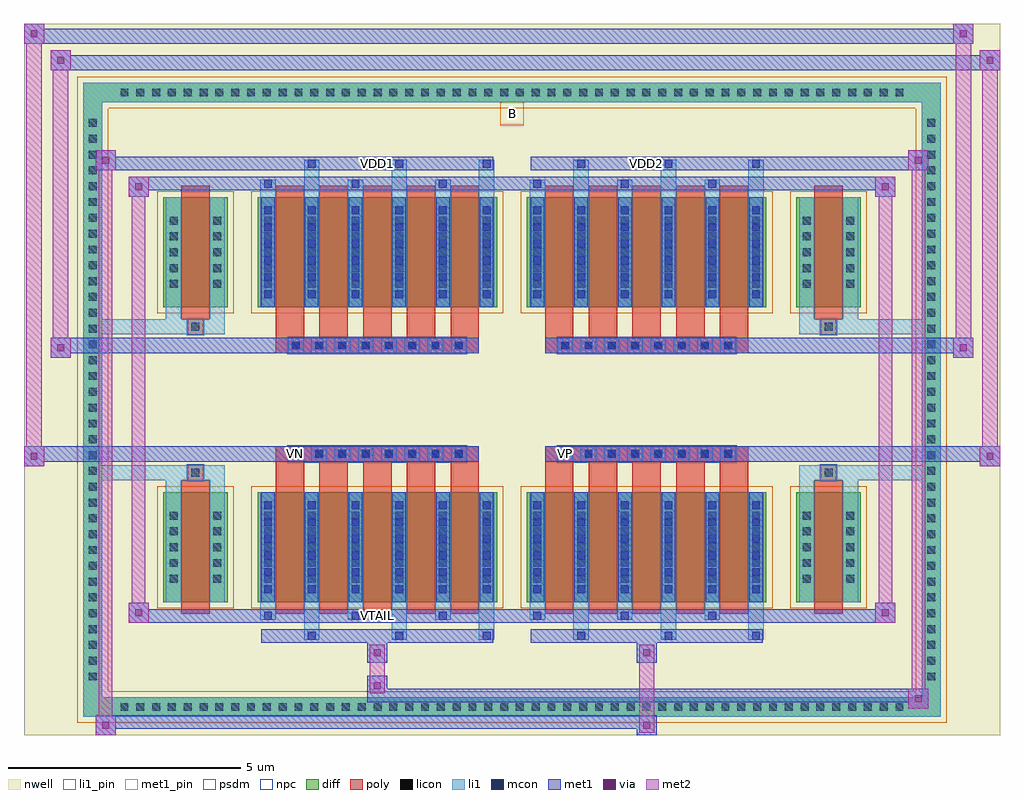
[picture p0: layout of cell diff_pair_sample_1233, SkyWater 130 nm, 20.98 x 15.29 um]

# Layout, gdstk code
import gdstk
lib = gdstk.Library(unit=1e-6, precision=5e-09)
def R(c, l, rs):  # rectangles x0, y0, x1, y1
    for r in rs: c.add(gdstk.rectangle(r[:2], r[2:], *l))
def A(c, l, x, y, w, h, nx, ny, dx, dy):  # array of equal rectangles
    R(c, l, [(x+i*dx, y+j*dy, x+i*dx+w, y+j*dy+h) for i in range(nx) for j in range(ny)])
def P(c, l, *ps):  # polygons
    for p in ps: c.add(gdstk.Polygon(p, *l))
nwell = (64, 20)
diff = (65, 20)
poly = (66, 20)
licon = (66, 44)
li1_pin = (67, 16)
li1 = (67, 20)
mcon = (67, 44)
met1_pin = (68, 16)
met1 = (68, 20)
via = (68, 44)
met2 = (69, 20)
psdm = (94, 20)
npc = (95, 20)

diff_pair_sample_1233 = lib.new_cell('diff_pair_sample_1233')
R(diff_pair_sample_1233, nwell, [(-10.49,-7.21,10.49,8.08), (-7.81,-5.4,-0.01,-0.8), (0.01,-5.4,7.81,-0.8), (-7.81,0.8,-0.01,5.4), (0.01,0.8,7.81,5.4)])
A(diff_pair_sample_1233, diff, -8.535, -6.81, 0.41, 0.41, 50, 2, 0.34, 13.21)
A(diff_pair_sample_1233, diff, -9.22, -6.155, 0.41, 0.41, 1, 36, 0, 0.34)
A(diff_pair_sample_1233, diff, 8.81, -6.155, 0.41, 0.41, 1, 36, 0, 0.34)
R(diff_pair_sample_1233, diff, [(-8.535,-6.81,8.535,-6.4), (-9.22,-6.155,-8.81,6.155), (8.81,-6.155,9.22,6.155), (-7.5,-4.355,-6.11,-1.985), (-5.47,-4.355,-0.32,-1.985), (0.32,-4.355,5.47,-1.985), (6.11,-4.355,7.5,-1.985), (-7.5,1.985,-6.11,4.355), (-5.47,1.985,-0.32,4.355), (0.32,1.985,5.47,4.355), (6.11,1.985,7.5,4.355), (-8.535,6.4,8.535,6.81)])
P(diff_pair_sample_1233, diff, [(9.22,6.81),(-9.22,6.81),(-9.22,-6.4),(-8.81,-6.4),(-8.81,6.4),(8.81,6.4),(8.81,-6.4),(-8.81,-6.4),(-9.22,-6.4),(-9.22,-6.81),(9.22,-6.81)])
A(diff_pair_sample_1233, poly, -5.08, -4.605, 0.61, 2.87, 5, 2, 0.94, 6.34)
A(diff_pair_sample_1233, poly, 0.71, -4.605, 0.61, 2.87, 5, 2, 0.94, 6.34)
A(diff_pair_sample_1233, poly, -5.08, -1.735, 0.61, 0.405, 5, 2, 0.94, 3.065)
A(diff_pair_sample_1233, poly, 0.71, -1.735, 0.61, 0.405, 5, 2, 0.94, 3.065)
A(diff_pair_sample_1233, poly, -4.81, -1.33, 0.33, 0.33, 8, 2, 0.5, 2.33)
A(diff_pair_sample_1233, poly, 0.98, -1.33, 0.33, 0.33, 8, 2, 0.5, 2.33)
R(diff_pair_sample_1233, poly, [(-7.11,-4.605,-6.5,-1.735), (6.5,-4.605,7.11,-1.735), (-6.97,-1.735,-6.64,-1.405), (-6.97,-1.735,-6.64,-1.405), (6.64,-1.735,6.97,-1.405), (6.64,-1.735,6.97,-1.405), (-5.08,-1.33,-0.71,-1), (0.71,-1.33,5.08,-1), (-5.08,1,-0.71,1.33), (0.71,1,5.08,1.33), (-6.97,1.405,-6.64,1.735), (-6.97,1.405,-6.64,1.735), (6.64,1.405,6.97,1.735), (6.64,1.405,6.97,1.735), (-7.11,1.735,-6.5,4.605), (6.5,1.735,7.11,4.605)])
A(diff_pair_sample_1233, licon, -8.415, -6.69, 0.17, 0.17, 50, 2, 0.34, 13.21)
A(diff_pair_sample_1233, licon, -9.1, -6.035, 0.17, 0.17, 1, 36, 0, 0.34)
A(diff_pair_sample_1233, licon, 8.93, -6.035, 0.17, 0.17, 1, 36, 0, 0.34)
A(diff_pair_sample_1233, licon, -7.36, -3.935, 0.17, 0.17, 1, 5, 0, 0.34)
A(diff_pair_sample_1233, licon, -6.42, -3.935, 0.17, 0.17, 1, 5, 0, 0.34)
A(diff_pair_sample_1233, licon, -5.33, -3.935, 0.17, 0.17, 6, 5, 0.94, 0.34)
A(diff_pair_sample_1233, licon, 0.46, -3.935, 0.17, 0.17, 6, 5, 0.94, 0.34)
A(diff_pair_sample_1233, licon, 6.25, -3.935, 0.17, 0.17, 1, 5, 0, 0.34)
A(diff_pair_sample_1233, licon, 7.19, -3.935, 0.17, 0.17, 1, 5, 0, 0.34)
A(diff_pair_sample_1233, licon, -4.73, -1.25, 0.17, 0.17, 8, 2, 0.5, 2.33)
A(diff_pair_sample_1233, licon, 1.06, -1.25, 0.17, 0.17, 8, 2, 0.5, 2.33)
A(diff_pair_sample_1233, licon, -7.36, 2.405, 0.17, 0.17, 1, 5, 0, 0.34)
A(diff_pair_sample_1233, licon, -6.42, 2.405, 0.17, 0.17, 1, 5, 0, 0.34)
A(diff_pair_sample_1233, licon, -5.33, 2.405, 0.17, 0.17, 6, 5, 0.94, 0.34)
A(diff_pair_sample_1233, licon, 0.46, 2.405, 0.17, 0.17, 6, 5, 0.94, 0.34)
A(diff_pair_sample_1233, licon, 6.25, 2.405, 0.17, 0.17, 1, 5, 0, 0.34)
A(diff_pair_sample_1233, licon, 7.19, 2.405, 0.17, 0.17, 1, 5, 0, 0.34)
R(diff_pair_sample_1233, licon, [(-6.89,-1.655,-6.72,-1.485), (6.72,-1.655,6.89,-1.485), (-6.89,1.485,-6.72,1.655), (6.72,1.485,6.89,1.655)])
R(diff_pair_sample_1233, li1_pin, [(-0.25,5.9,0.25,6.4)])
A(diff_pair_sample_1233, li1, -8.495, -6.77, 0.33, 0.33, 50, 2, 0.34, 13.21)
A(diff_pair_sample_1233, li1, -9.18, -6.115, 0.33, 0.33, 1, 36, 0, 0.34)
A(diff_pair_sample_1233, li1, 8.85, -6.115, 0.33, 0.33, 1, 36, 0, 0.34)
A(diff_pair_sample_1233, li1, -4.47, -5.16, 0.33, 0.805, 3, 2, 1.88, 9.515)
A(diff_pair_sample_1233, li1, -4.39, -5.16, 0.17, 0.17, 3, 2, 1.88, 10.15)
A(diff_pair_sample_1233, li1, 1.32, -5.16, 0.33, 0.805, 3, 2, 1.88, 9.515)
A(diff_pair_sample_1233, li1, 1.4, -5.16, 0.17, 0.17, 3, 2, 1.88, 10.15)
A(diff_pair_sample_1233, li1, -5.41, -4.73, 0.33, 0.375, 3, 2, 1.88, 9.085)
A(diff_pair_sample_1233, li1, -5.33, -4.73, 0.17, 0.17, 3, 2, 1.88, 9.29)
A(diff_pair_sample_1233, li1, 0.38, -4.73, 0.33, 0.375, 3, 2, 1.88, 9.085)
A(diff_pair_sample_1233, li1, 0.46, -4.73, 0.17, 0.17, 3, 2, 1.88, 9.29)
A(diff_pair_sample_1233, li1, -5.41, -4.355, 0.33, 2.37, 6, 2, 0.94, 6.34)
A(diff_pair_sample_1233, li1, 0.38, -4.355, 0.33, 2.37, 6, 2, 0.94, 6.34)
A(diff_pair_sample_1233, li1, -5.33, -4.155, 0.17, 0.17, 6, 6, 0.94, 0.36)
A(diff_pair_sample_1233, li1, -5.33, -4.155, 0.17, 1.97, 6, 2, 0.94, 6.34)
A(diff_pair_sample_1233, li1, 0.46, -4.155, 0.17, 0.17, 6, 6, 0.94, 0.36)
A(diff_pair_sample_1233, li1, 0.46, -4.155, 0.17, 1.97, 6, 2, 0.94, 6.34)
A(diff_pair_sample_1233, li1, -7.44, -4.015, 0.33, 0.33, 1, 5, 0, 0.34)
A(diff_pair_sample_1233, li1, -6.5, -4.015, 0.33, 0.33, 1, 5, 0, 0.34)
A(diff_pair_sample_1233, li1, -5.41, -4.015, 0.33, 0.33, 6, 5, 0.94, 0.34)
A(diff_pair_sample_1233, li1, 0.38, -4.015, 0.33, 0.33, 6, 5, 0.94, 0.34)
A(diff_pair_sample_1233, li1, 6.17, -4.015, 0.33, 0.33, 1, 5, 0, 0.34)
A(diff_pair_sample_1233, li1, 7.11, -4.015, 0.33, 0.33, 1, 5, 0, 0.34)
A(diff_pair_sample_1233, li1, -4.81, -1.33, 0.33, 0.33, 8, 2, 0.5, 2.33)
A(diff_pair_sample_1233, li1, 0.98, -1.33, 0.33, 0.33, 8, 2, 0.5, 2.33)
A(diff_pair_sample_1233, li1, -5.33, 2.185, 0.17, 0.17, 6, 6, 0.94, 0.36)
A(diff_pair_sample_1233, li1, 0.46, 2.185, 0.17, 0.17, 6, 6, 0.94, 0.36)
A(diff_pair_sample_1233, li1, -7.44, 2.325, 0.33, 0.33, 1, 5, 0, 0.34)
A(diff_pair_sample_1233, li1, -6.5, 2.325, 0.33, 0.33, 1, 5, 0, 0.34)
A(diff_pair_sample_1233, li1, -5.41, 2.325, 0.33, 0.33, 6, 5, 0.94, 0.34)
A(diff_pair_sample_1233, li1, 0.38, 2.325, 0.33, 0.33, 6, 5, 0.94, 0.34)
A(diff_pair_sample_1233, li1, 6.17, 2.325, 0.33, 0.33, 1, 5, 0, 0.34)
A(diff_pair_sample_1233, li1, 7.11, 2.325, 0.33, 0.33, 1, 5, 0, 0.34)
R(diff_pair_sample_1233, li1, [(-9.22,-6.81,-8.81,-6.4), (-9.22,-6.81,-8.81,-6.4), (-8.81,-6.81,8.81,-6.4), (8.81,-6.81,9.22,-6.4), (8.81,-6.81,9.22,-6.4), (-9.22,-6.4,-8.81,6.4), (8.81,-6.4,9.22,6.4), (-7.44,-4.355,-7.11,-1.985), (-6.5,-4.355,-6.17,-1.985), (6.17,-4.355,6.5,-1.985), (7.11,-4.355,7.44,-1.985), (-7.44,-1.985,-7.11,-1.405), (-6.5,-1.985,-6.17,-1.405), (6.17,-1.985,6.5,-1.405), (7.11,-1.985,7.44,-1.405), (-9.22,-1.735,-6.97,-1.405), (-7.44,-1.735,-6.97,-1.405), (-6.97,-1.735,-6.64,-1.405), (-6.64,-1.735,-6.17,-1.405), (6.17,-1.735,6.64,-1.405), (6.64,-1.735,6.97,-1.405), (6.64,-1.735,9.22,-1.405), (6.97,-1.735,7.44,-1.405), (-9.22,1.405,-6.97,1.735), (-7.44,1.405,-6.97,1.735), (-7.44,1.405,-7.11,1.985), (-6.97,1.405,-6.64,1.735), (-6.64,1.405,-6.17,1.735), (-6.5,1.405,-6.17,1.985), (6.17,1.405,6.64,1.735), (6.17,1.405,6.5,1.985), (6.64,1.405,6.97,1.735), (6.64,1.405,9.22,1.735), (6.97,1.405,7.44,1.735), (7.11,1.405,7.44,1.985), (-7.44,1.985,-7.11,4.355), (-6.5,1.985,-6.17,4.355), (6.17,1.985,6.5,4.355), (7.11,1.985,7.44,4.355), (-9.22,6.4,-8.81,6.81), (-9.22,6.4,-8.81,6.81), (-8.81,6.4,8.81,6.81), (8.81,6.4,9.22,6.81), (8.81,6.4,9.22,6.81)])
A(diff_pair_sample_1233, mcon, -4.39, -5.16, 0.17, 0.17, 3, 2, 1.88, 10.15)
A(diff_pair_sample_1233, mcon, 1.4, -5.16, 0.17, 0.17, 3, 2, 1.88, 10.15)
A(diff_pair_sample_1233, mcon, -5.33, -4.73, 0.17, 0.17, 3, 2, 1.88, 9.29)
A(diff_pair_sample_1233, mcon, 0.46, -4.73, 0.17, 0.17, 3, 2, 1.88, 9.29)
A(diff_pair_sample_1233, mcon, -5.33, -4.155, 0.17, 0.17, 6, 6, 0.94, 0.36)
A(diff_pair_sample_1233, mcon, 0.46, -4.155, 0.17, 0.17, 6, 6, 0.94, 0.36)
A(diff_pair_sample_1233, mcon, -4.73, -1.25, 0.17, 0.17, 8, 2, 0.5, 2.33)
A(diff_pair_sample_1233, mcon, 1.06, -1.25, 0.17, 0.17, 8, 2, 0.5, 2.33)
A(diff_pair_sample_1233, mcon, -5.33, 2.185, 0.17, 0.17, 6, 6, 0.94, 0.36)
A(diff_pair_sample_1233, mcon, 0.46, 2.185, 0.17, 0.17, 6, 6, 0.94, 0.36)
R(diff_pair_sample_1233, met1_pin, [(-3.03,-4.77,-2.76,-4.5), (-4.78,-1.29,-4.51,-1.02), (1.01,-1.29,1.28,-1.02), (-3.03,4.95,-2.76,5.22), (2.76,4.95,3.03,5.22)])
A(diff_pair_sample_1233, met1, -4.45, -5.22, 0.29, 0.29, 3, 2, 1.88, 10.15)
A(diff_pair_sample_1233, met1, 1.34, -5.22, 0.29, 0.29, 3, 2, 1.88, 10.15)
A(diff_pair_sample_1233, met1, -5.39, -4.79, 0.29, 0.29, 3, 2, 1.88, 9.29)
A(diff_pair_sample_1233, met1, 0.4, -4.79, 0.29, 0.29, 3, 2, 1.88, 9.29)
A(diff_pair_sample_1233, met1, -5.39, -4.355, 0.29, 2.37, 6, 2, 0.94, 6.34)
A(diff_pair_sample_1233, met1, 0.4, -4.355, 0.29, 2.37, 6, 2, 0.94, 6.34)
A(diff_pair_sample_1233, met1, -5.39, -4.215, 0.29, 0.29, 6, 6, 0.94, 0.36)
A(diff_pair_sample_1233, met1, 0.4, -4.215, 0.29, 0.29, 6, 6, 0.94, 0.36)
A(diff_pair_sample_1233, met1, -4.79, -1.31, 0.29, 0.29, 8, 2, 0.5, 2.33)
A(diff_pair_sample_1233, met1, 1, -1.31, 0.29, 0.29, 8, 2, 0.5, 2.33)
A(diff_pair_sample_1233, met1, -5.39, 2.125, 0.29, 0.29, 6, 6, 0.94, 0.36)
A(diff_pair_sample_1233, met1, 0.4, 2.125, 0.29, 0.29, 6, 6, 0.94, 0.36)
R(diff_pair_sample_1233, met1, [(-8.95,-7.21,-8.52,-6.78), (2.68,-7.21,3.11,-6.78), (-8.95,-7.07,3.11,-6.78), (8.52,-6.64,8.95,-6.21), (-3.11,-6.5,8.95,-6.21), (-3.11,-6.36,-2.68,-5.93), (-3.11,-5.65,-2.68,-5.22), (2.68,-5.65,3.11,-5.22), (-5.39,-5.22,-0.4,-4.93), (0.4,-5.22,5.39,-4.93), (-8.24,-4.79,-7.81,-4.36), (-8.24,-4.79,-5.39,-4.5), (-5.39,-4.79,-0.4,-4.5), (-0.4,-4.79,0.4,-4.5), (0.4,-4.79,5.39,-4.5), (5.39,-4.79,8.24,-4.5), (7.81,-4.79,8.24,-4.36), (-10.49,-1.43,-10.06,-1), (10.06,-1.43,10.49,-1), (-10.49,-1.33,-0.71,-1), (-5.08,-1.33,-0.71,-1), (0.71,-1.33,5.08,-1), (0.71,-1.33,10.49,-1), (-9.92,0.9,-9.49,1.33), (9.49,0.9,9.92,1.33), (-9.92,1,-5.08,1.33), (-5.08,1,-0.71,1.33), (0.71,1,5.08,1.33), (5.08,1,9.92,1.33), (-8.24,4.36,-7.81,4.79), (7.81,4.36,8.24,4.79), (-8.24,4.5,-5.39,4.79), (-5.39,4.5,-0.4,4.79), (-0.4,4.5,0.4,4.79), (0.4,4.5,5.39,4.79), (5.39,4.5,8.24,4.79), (-8.95,4.93,-8.52,5.36), (-8.95,4.93,-5.39,5.22), (-5.39,4.93,-0.4,5.22), (0.4,4.93,5.39,5.22), (5.39,4.93,8.95,5.22), (8.52,4.93,8.95,5.36), (-9.92,7.08,-9.49,7.51), (-9.92,7.08,-7.81,7.41), (-7.81,7.08,7.81,7.41), (7.81,7.08,10.49,7.41), (10.06,7.08,10.49,7.51), (-10.49,7.65,-10.06,8.08), (-10.49,7.65,-7.81,7.98), (-7.81,7.65,7.81,7.98), (7.81,7.65,9.92,7.98), (9.49,7.65,9.92,8.08)])
R(diff_pair_sample_1233, via, [(-8.81,-7.07,-8.66,-6.92), (2.82,-7.07,2.97,-6.92), (8.66,-6.5,8.81,-6.35), (-2.97,-6.22,-2.82,-6.07), (-2.97,-5.51,-2.82,-5.36), (2.82,-5.51,2.97,-5.36), (-8.1,-4.65,-7.95,-4.5), (7.95,-4.65,8.1,-4.5), (-10.35,-1.29,-10.2,-1.14), (10.2,-1.29,10.35,-1.14), (-9.78,1.04,-9.63,1.19), (9.63,1.04,9.78,1.19), (-8.1,4.5,-7.95,4.65), (7.95,4.5,8.1,4.65), (-8.81,5.07,-8.66,5.22), (8.66,5.07,8.81,5.22), (-9.78,7.22,-9.63,7.37), (10.2,7.22,10.35,7.37), (-10.35,7.79,-10.2,7.94), (9.63,7.79,9.78,7.94)])
R(diff_pair_sample_1233, met2, [(-8.95,-7.21,-8.52,-6.78), (-8.88,-7.21,-8.59,5.36), (-8.59,-7.21,-8.52,-6.78), (-8.9,-7.16,-8.57,-6.83), (2.73,-7.16,3.06,-6.83), (2.73,-6.83,3.06,-5.6), (8.52,-6.64,8.95,-6.21), (8.59,-6.64,8.88,5.36), (8.88,-6.64,8.95,-6.21), (8.57,-6.59,8.9,-6.26), (-3.06,-6.31,-2.73,-5.98), (-3.06,-5.98,-2.73,-5.6), (-3.06,-5.6,-2.73,-5.27), (2.73,-5.6,3.06,-5.27), (-8.24,-4.79,-7.81,-4.36), (-8.17,-4.79,-7.88,4.79), (-7.88,-4.79,-7.81,-4.36), (7.81,-4.79,8.24,-4.36), (7.88,-4.79,8.17,4.79), (8.17,-4.79,8.24,-4.36), (-8.19,-4.74,-7.86,-4.41), (7.86,-4.74,8.19,-4.41), (-10.49,-1.43,-10.06,-1), (-10.44,-1.43,-10.11,8.08), (-10.11,-1.43,-10.06,-1), (10.06,-1.43,10.49,-1), (10.11,-1.43,10.44,7.51), (10.44,-1.43,10.49,-1), (-10.44,-1.38,-10.11,-1.05), (10.11,-1.38,10.44,-1.05), (-9.92,0.9,-9.49,1.33), (-9.87,0.9,-9.54,7.51), (-9.54,0.9,-9.49,1.33), (9.49,0.9,9.92,1.33), (9.54,0.9,9.87,8.08), (9.87,0.9,9.92,1.33), (-9.87,0.95,-9.54,1.28), (9.54,0.95,9.87,1.28), (-8.24,4.36,-7.81,4.79), (-7.88,4.36,-7.81,4.79), (7.81,4.36,8.24,4.79), (8.17,4.36,8.24,4.79), (-8.19,4.41,-7.86,4.74), (7.86,4.41,8.19,4.74), (-8.95,4.93,-8.52,5.36), (-8.59,4.93,-8.52,5.36), (8.52,4.93,8.95,5.36), (8.88,4.93,8.95,5.36), (-8.9,4.98,-8.57,5.31), (8.57,4.98,8.9,5.31), (-9.92,7.08,-9.49,7.51), (-9.54,7.08,-9.49,7.51), (10.06,7.08,10.49,7.51), (10.44,7.08,10.49,7.51), (-9.87,7.13,-9.54,7.46), (10.11,7.13,10.44,7.46), (-10.49,7.65,-10.06,8.08), (-10.11,7.65,-10.06,8.08), (9.49,7.65,9.92,8.08), (9.87,7.65,9.92,8.08), (-10.44,7.7,-10.11,8.03), (9.54,7.7,9.87,8.03)])
R(diff_pair_sample_1233, psdm, [(-7.63,-4.485,-5.98,-1.855), (-5.6,-4.485,-0.19,-1.855), (0.19,-4.485,5.6,-1.855), (5.98,-4.485,7.63,-1.855), (-7.63,1.855,-5.98,4.485), (-5.6,1.855,-0.19,4.485), (0.19,1.855,5.6,4.485), (5.98,1.855,7.63,4.485)])
P(diff_pair_sample_1233, psdm, [(9.35,6.94),(-9.35,6.94),(-9.35,-6.27),(-8.68,-6.27),(-8.68,6.27),(8.68,6.27),(8.68,-6.27),(-8.68,-6.27),(-9.35,-6.27),(-9.35,-6.94),(9.35,-6.94)])
A(diff_pair_sample_1233, npc, -4.83, -1.35, 0.37, 0.37, 8, 2, 0.5, 2.33)
A(diff_pair_sample_1233, npc, 0.96, -1.35, 0.37, 0.37, 8, 2, 0.5, 2.33)
R(diff_pair_sample_1233, npc, [(-6.99,-1.755,-6.62,-1.385), (6.62,-1.755,6.99,-1.385), (-4.83,-1.35,-3.96,-0.98), (-4.83,-1.35,-3.96,-0.98), (-4.33,-1.35,-3.46,-0.98), (-4.33,-1.35,-3.46,-0.98), (-3.83,-1.35,-2.96,-0.98), (-3.83,-1.35,-2.96,-0.98), (-3.33,-1.35,-2.46,-0.98), (-3.33,-1.35,-2.46,-0.98), (-2.83,-1.35,-1.96,-0.98), (-2.83,-1.35,-1.96,-0.98), (-2.33,-1.35,-1.46,-0.98), (-2.33,-1.35,-1.46,-0.98), (-1.83,-1.35,-0.96,-0.98), (-1.83,-1.35,-0.96,-0.98), (0.96,-1.35,1.83,-0.98), (0.96,-1.35,1.83,-0.98), (1.46,-1.35,2.33,-0.98), (1.46,-1.35,2.33,-0.98), (1.96,-1.35,2.83,-0.98), (1.96,-1.35,2.83,-0.98), (2.46,-1.35,3.33,-0.98), (2.46,-1.35,3.33,-0.98), (2.96,-1.35,3.83,-0.98), (2.96,-1.35,3.83,-0.98), (3.46,-1.35,4.33,-0.98), (3.46,-1.35,4.33,-0.98), (3.96,-1.35,4.83,-0.98), (3.96,-1.35,4.83,-0.98), (-4.83,0.98,-3.96,1.35), (-4.83,0.98,-3.96,1.35), (-4.33,0.98,-3.46,1.35), (-4.33,0.98,-3.46,1.35), (-3.83,0.98,-2.96,1.35), (-3.83,0.98,-2.96,1.35), (-3.33,0.98,-2.46,1.35), (-3.33,0.98,-2.46,1.35), (-2.83,0.98,-1.96,1.35), (-2.83,0.98,-1.96,1.35), (-2.33,0.98,-1.46,1.35), (-2.33,0.98,-1.46,1.35), (-1.83,0.98,-0.96,1.35), (-1.83,0.98,-0.96,1.35), (0.96,0.98,1.83,1.35), (0.96,0.98,1.83,1.35), (1.46,0.98,2.33,1.35), (1.46,0.98,2.33,1.35), (1.96,0.98,2.83,1.35), (1.96,0.98,2.83,1.35), (2.46,0.98,3.33,1.35), (2.46,0.98,3.33,1.35), (2.96,0.98,3.83,1.35), (2.96,0.98,3.83,1.35), (3.46,0.98,4.33,1.35), (3.46,0.98,4.33,1.35), (3.96,0.98,4.83,1.35), (3.96,0.98,4.83,1.35), (-6.99,1.385,-6.62,1.755), (6.62,1.385,6.99,1.755)])
diff_pair_sample_1233.add(gdstk.Label('VTAIL', (-2.895,-4.635), layer=68, texttype=5))
diff_pair_sample_1233.add(gdstk.Label('VN', (-4.645,-1.155), layer=68, texttype=5))
diff_pair_sample_1233.add(gdstk.Label('VP', (1.145,-1.155), layer=68, texttype=5))
diff_pair_sample_1233.add(gdstk.Label('B', (0,6.15), layer=67, texttype=5))
diff_pair_sample_1233.add(gdstk.Label('VDD2', (2.895,5.085), layer=68, texttype=5))
diff_pair_sample_1233.add(gdstk.Label('VDD1', (-2.895,5.085), layer=68, texttype=5))

lib.write_gds('diff_pair_sample_1233.gds')
